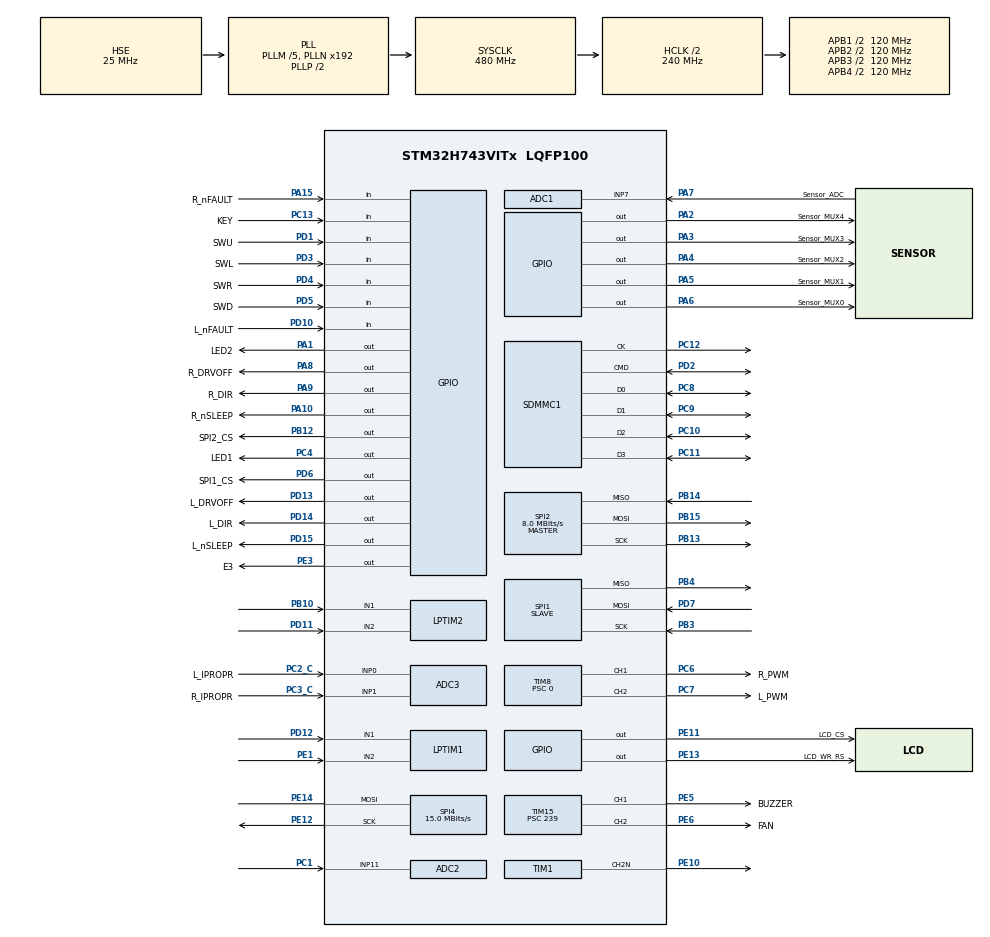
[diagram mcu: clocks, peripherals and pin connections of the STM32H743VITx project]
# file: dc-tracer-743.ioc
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ADC1.Channel-2\#ChannelRegularConversion=ADC_CHANNEL_7
ADC1.ClockPrescaler=ADC_CLOCK_ASYNC_DIV2
ADC1.ClockPrescalerADC3=ADC_CLOCK_ASYNC_DIV4
ADC1.NbrOfConversionFlag=1
ADC1.Offset-2\#ChannelRegularConversion=3000
ADC1.OffsetNumber-2\#ChannelRegularConversion=ADC_OFFSET_1
ADC1.OffsetSignedSaturation-2\#ChannelRegularConversion=DISABLE
ADC1.Rank-2\#ChannelRegularConversion=1
ADC1.Resolution=ADC_RESOLUTION_16B
ADC1.SamplingTime-2\#ChannelRegularConversion=ADC_SAMPLETIME_32CYCLES_5
ADC1.master=1
ADC2.Channel-6\#ChannelRegularConversion=ADC_CHANNEL_11
ADC2.ClockPrescaler=ADC_CLOCK_ASYNC_DIV2
ADC2.NbrOfConversionFlag=1
ADC2.OffsetNumber-6\#ChannelRegularConversion=ADC_OFFSET_NONE
ADC2.OffsetSignedSaturation-6\#ChannelRegularConversion=DISABLE
ADC2.Rank-6\#ChannelRegularConversion=1
ADC2.SamplingTime-6\#ChannelRegularConversion=ADC_SAMPLETIME_16CYCLES_5
ADC3.Channel-0\#ChannelRegularConversion=ADC_CHANNEL_0
ADC3.ClockPrescaler=ADC_CLOCK_ASYNC_DIV2
ADC3.ClockPrescalerADC3=ADC_CLOCK_ASYNC_DIV4
ADC3.DiscontinuousConvMode=DISABLE
ADC3.NbrOfConversion=1
ADC3.NbrOfConversionFlag=1
ADC3.OffsetNumber-0\#ChannelRegularConversion=ADC_OFFSET_NONE
ADC3.OffsetSignedSaturation-0\#ChannelRegularConversion=DISABLE
ADC3.Rank-0\#ChannelRegularConversion=1
ADC3.SamplingTime-0\#ChannelRegularConversion=ADC_SAMPLETIME_16CYCLES_5
LPTIM3.ClockPrescaler=LPTIM_PRESCALER_DIV1
LPTIM4.ClockPrescaler=LPTIM_PRESCALER_DIV16
LPTIM5.ClockPrescaler=LPTIM_PRESCALER_DIV16
Mcu.Family=STM32H7
Mcu.Name=STM32H743VITx
Mcu.Package=LQFP100
NVIC.LPTIM3_IRQn=true\:0\:0\:false\:false\:true\:true\:true\:true
NVIC.LPTIM4_IRQn=true\:0\:0\:false\:false\:true\:true\:true\:true
NVIC.LPTIM5_IRQn=true\:0\:0\:false\:false\:true\:true\:true\:true
NVIC.PriorityGroup=NVIC_PRIORITYGROUP_4
NVIC.TIM6_DAC_IRQn=true\:0\:0\:false\:false\:true\:true\:true\:true
PA1.GPIO_Label=LED2
PA1.Signal=GPIO_Output
PA10.GPIO_Label=R_nSLEEP
PA10.Signal=GPIO_Output
PA13\ (JTMS/SWDIO).Mode=Serial_Wire
PA13\ (JTMS/SWDIO).Signal=DEBUG_JTMS-SWDIO
PA14\ (JTCK/SWCLK).Mode=Serial_Wire
PA14\ (JTCK/SWCLK).Signal=DEBUG_JTCK-SWCLK
PA15\ (JTDI).GPIO_Label=R_nFAULT
PA15\ (JTDI).Signal=GPIO_Input
PA2.GPIO_Label=Sensor_MUX4
PA2.Signal=GPIO_Output
PA3.GPIO_Label=Sensor_MUX3
PA3.Signal=GPIO_Output
PA4.GPIO_Label=Sensor_MUX2
PA4.Signal=GPIO_Output
PA5.GPIO_Label=Sensor_MUX1
PA5.Signal=GPIO_Output
PA6.GPIO_Label=Sensor_MUX0
PA6.Signal=GPIO_Output
PA7.GPIO_Label=Sensor_ADC
PA7.Signal=ADCx_INP7
PA8.GPIO_Label=R_DRVOFF
PA8.Signal=GPIO_Output
PA9.GPIO_Label=R_DIR
PA9.Signal=GPIO_Output
PB10.Mode=Encoder_mode_occur1
PB10.Signal=LPTIM2_IN1
PB12.GPIO_Label=SPI2_CS
PB12.Signal=GPIO_Output
PB13.Mode=Full_Duplex_Master
PB13.Signal=SPI2_SCK
PB14.Mode=Full_Duplex_Master
PB14.Signal=SPI2_MISO
PB15.Mode=Full_Duplex_Master
PB15.Signal=SPI2_MOSI
PB3\ (JTDO/TRACESWO).Mode=Full_Duplex_Slave
PB3\ (JTDO/TRACESWO).Signal=SPI1_SCK
PB4\ (NJTRST).Mode=Full_Duplex_Slave
PB4\ (NJTRST).Signal=SPI1_MISO
PC1.Signal=ADCx_INP11
PC10.Mode=SD_4_bits_Wide_bus
PC10.Signal=SDMMC1_D2
PC11.Mode=SD_4_bits_Wide_bus
PC11.Signal=SDMMC1_D3
PC12.Mode=SD_4_bits_Wide_bus
PC12.Signal=SDMMC1_CK
PC13.GPIO_Label=KEY
PC13.GPIO_PuPd=GPIO_PULLDOWN
PC13.Signal=GPIO_Input
PC14-OSC32_IN\ (OSC32_IN).Mode=LSE-External-Oscillator
PC14-OSC32_IN\ (OSC32_IN).Signal=RCC_OSC32_IN
PC15-OSC32_OUT\ (OSC32_OUT).Mode=LSE-External-Oscillator
PC15-OSC32_OUT\ (OSC32_OUT).Signal=RCC_OSC32_OUT
PC2_C.GPIO_Label=L_IPROPR
PC2_C.Mode=IN0-Single-Ended
PC2_C.Signal=ADC3_INP0
PC3_C.GPIO_Label=R_IPROPR
PC3_C.Mode=IN1-Single-Ended
PC3_C.Signal=ADC3_INP1
PC4.GPIO_Label=LED1
PC4.Signal=GPIO_Output
PC6.GPIO_Label=R_PWM
PC6.Signal=S_TIM8_CH1
PC7.GPIO_Label=L_PWM
PC7.Signal=S_TIM8_CH2
PC8.Mode=SD_4_bits_Wide_bus
PC8.Signal=SDMMC1_D0
PC9.Mode=SD_4_bits_Wide_bus
PC9.Signal=SDMMC1_D1
PD1.GPIO_Label=SWU
PD1.GPIO_PuPd=GPIO_PULLUP
PD1.Signal=GPIO_Input
PD10.GPIO_Label=L_nFAULT
PD10.Signal=GPIO_Input
PD11.Mode=Encoder_mode_occur1
PD11.Signal=LPTIM2_IN2
PD12.Mode=Encoder_mode_occur1
PD12.Signal=LPTIM1_IN1
PD13.GPIO_Label=L_DRVOFF
PD13.Signal=GPIO_Output
PD14.GPIO_Label=L_DIR
PD14.Signal=GPIO_Output
PD15.GPIO_Label=L_nSLEEP
PD15.Signal=GPIO_Output
PD2.Mode=SD_4_bits_Wide_bus
PD2.Signal=SDMMC1_CMD
PD3.GPIO_Label=SWL
PD3.GPIO_PuPd=GPIO_PULLUP
PD3.Signal=GPIO_Input
PD4.GPIO_Label=SWR
PD4.GPIO_PuPd=GPIO_PULLUP
PD4.Signal=GPIO_Input
PD5.GPIO_Label=SWD
PD5.GPIO_PuPd=GPIO_PULLUP
PD5.Signal=GPIO_Input
PD6.GPIO_Label=SPI1_CS
PD6.Signal=GPIO_Output
PD7.Mode=Full_Duplex_Slave
PD7.Signal=SPI1_MOSI
PE1.Mode=Encoder_mode_occur1
PE1.Signal=LPTIM1_IN2
PE10.Mode=PWM Generation2 CH2N
PE10.Signal=TIM1_CH2N
PE11.GPIO_Label=LCD_CS
PE11.GPIO_Speed=GPIO_SPEED_FREQ_VERY_HIGH
PE11.PinState=GPIO_PIN_SET
PE11.Signal=GPIO_Output
PE12.GPIO_Speed=GPIO_SPEED_FREQ_HIGH
PE12.Mode=Simplex_Bidirectional_Master
PE12.Signal=SPI4_SCK
PE13.GPIO_Label=LCD_WR_RS
PE13.GPIO_Speed=GPIO_SPEED_FREQ_VERY_HIGH
PE13.PinState=GPIO_PIN_SET
PE13.Signal=GPIO_Output
PE14.GPIO_Speed=GPIO_SPEED_FREQ_HIGH
PE14.Mode=Simplex_Bidirectional_Master
PE14.Signal=SPI4_MOSI
PE3.GPIO_Label=E3
PE3.Signal=GPIO_Output
PE5.GPIO_Label=BUZZER
PE5.GPIO_PuPd=GPIO_PULLDOWN
PE5.Signal=S_TIM15_CH1
PE6.GPIO_Label=FAN
PE6.Signal=S_TIM15_CH2
PH0-OSC_IN\ (PH0).Mode=HSE-External-Oscillator
PH0-OSC_IN\ (PH0).Signal=RCC_OSC_IN
PH1-OSC_OUT\ (PH1).Mode=HSE-External-Oscillator
PH1-OSC_OUT\ (PH1).Signal=RCC_OSC_OUT
ProjectManager.HeapSize=0x200
ProjectManager.StackSize=0x400
ProjectManager.TargetToolchain=STM32CubeIDE
RCC.ADCFreq_Value=62000000
RCC.APB1Freq_Value=120000000
RCC.APB2Freq_Value=120000000
RCC.APB3Freq_Value=120000000
RCC.APB4Freq_Value=120000000
RCC.CortexFreq_Value=480000000
RCC.D1PPRE=RCC_APB3_DIV2
RCC.D2PPRE1=RCC_APB1_DIV2
RCC.D2PPRE2=RCC_APB2_DIV2
RCC.D3PPRE=RCC_APB4_DIV2
RCC.DIVM1=5
RCC.DIVM2=25
RCC.DIVN1=192
RCC.DIVN2=248
RCC.DIVP2=4
RCC.DIVQ2=1
RCC.HCLKFreq_Value=240000000
RCC.HPRE=RCC_HCLK_DIV2
RCC.HSE_VALUE=25000000
RCC.LPTIM345CLockSelection=RCC_LPTIM345CLKSOURCE_LSI
RCC.PLL2FRACN=0
RCC.PLLFRACN=0
RCC.PLLSourceVirtual=RCC_PLLSOURCE_HSE
RCC.PWR_Regulator_Voltage_Scale=PWR_REGULATOR_VOLTAGE_SCALE0
RCC.RTCClockSelection=RCC_RTCCLKSOURCE_LSE
RCC.SDMMC1CLockSelection=RCC_SDMMCCLKSOURCE_PLL2
RCC.SPI123CLockSelection=RCC_SPI123CLKSOURCE_CLKP
RCC.SYSCLKFreq_VALUE=480000000
RCC.SYSCLKSource=RCC_SYSCLKSOURCE_PLLCLK
RCC.USBFreq_Value=480000000
RTC.Hours=12
RTC.Month=RTC_MONTH_JUNE
RTC.Year=20
SH.ADCx_INP11.0=ADC2_INP11,IN11-Single-Ended
SH.ADCx_INP7.0=ADC1_INP7,IN7-Single-Ended
SH.S_TIM15_CH1.0=TIM15_CH1,PWM Generation1 CH1
SH.S_TIM15_CH2.0=TIM15_CH2,PWM Generation2 CH2
SH.S_TIM8_CH1.0=TIM8_CH1,PWM Generation1 CH1
SH.S_TIM8_CH2.0=TIM8_CH2,PWM Generation2 CH2
SPI1.DataSize=SPI_DATASIZE_8BIT
SPI1.Direction=SPI_DIRECTION_2LINES
SPI1.Mode=SPI_MODE_SLAVE
SPI1.VirtualType=VM_SLAVE
SPI2.BaudRatePrescaler=SPI_BAUDRATEPRESCALER_8
SPI2.CalculateBaudRate=8.0 MBits/s
SPI2.DataSize=SPI_DATASIZE_8BIT
SPI2.Direction=SPI_DIRECTION_2LINES
SPI2.Mode=SPI_MODE_MASTER
SPI2.VirtualType=VM_MASTER
SPI4.BaudRatePrescaler=SPI_BAUDRATEPRESCALER_8
SPI4.CalculateBaudRate=15.0 MBits/s
SPI4.DataSize=SPI_DATASIZE_8BIT
SPI4.Direction=SPI_DIRECTION_1LINE
SPI4.Mode=SPI_MODE_MASTER
SPI4.VirtualType=VM_MASTER
TIM1.AutoReloadPreload=TIM_AUTORELOAD_PRELOAD_ENABLE
TIM1.AutomaticOutput=TIM_AUTOMATICOUTPUT_ENABLE
TIM1.Channel-PWM\ Generation2\ CH2N=TIM_CHANNEL_2
TIM1.OCMode_PWM-PWM\ Generation2\ CH2N=TIM_OCMODE_PWM2
TIM1.Period=999
TIM1.Prescaler=11
TIM15.Channel-PWM\ Generation1\ CH1=TIM_CHANNEL_1
TIM15.Channel-PWM\ Generation2\ CH2=TIM_CHANNEL_2
TIM15.Period=319
TIM15.Prescaler=239
TIM16.Prescaler=599
TIM17.Period=999
TIM17.Prescaler=11
TIM8.AutoReloadPreload=TIM_AUTORELOAD_PRELOAD_ENABLE
TIM8.Channel-PWM\ Generation1\ CH1=TIM_CHANNEL_1
TIM8.Channel-PWM\ Generation2\ CH2=TIM_CHANNEL_2
TIM8.CounterMode=TIM_COUNTERMODE_UP
TIM8.Period=9599
TIM8.Prescaler=0
VP_LPTIM3_VS_LPTIM_counterModeInternalClock.Mode=Counts__internal_clock_event_00
VP_LPTIM4_VS_LPTIM_counterModeInternalClock.Mode=Counts__internal_clock_event_00
VP_LPTIM5_VS_LPTIM_counterModeInternalClock.Mode=Counts__internal_clock_event_00
VP_MEMORYMAP_VS_MEMORYMAP.Mode=CurAppReg
VP_RTC_VS_RTC_Activate.Mode=RTC_Enabled
VP_RTC_VS_RTC_Calendar.Mode=RTC_Calendar
VP_TIM15_VS_ClockSourceINT.Mode=Internal
VP_TIM16_VS_ClockSourceINT.Mode=Enable_Timer
VP_TIM17_VS_ClockSourceINT.Mode=Enable_Timer
VP_TIM1_VS_ClockSourceINT.Mode=Internal
VP_TIM6_VS_ClockSourceINT.Mode=Enable_Timer
VP_TIM7_VS_ClockSourceINT.Mode=Enable_Timer
board=custom

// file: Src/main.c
/* USER CODE BEGIN Header */
/**
 ******************************************************************************
 * @file           : main.c
 * @brief          : Main program body
 ******************************************************************************
 * @attention
 *
 * <h2><center>&copy; Copyright (c) 2020 STMicroelectronics.
 * All rights reserved.</center></h2>
 *
 * This software component is licensed by ST under BSD 3-Clause license,
 * the "License"; You may not use this file except in compliance with the
 * License. You may obtain a copy of the License at:
 *                        opensource.org/licenses/BSD-3-Clause
 *
 ******************************************************************************
 */
/* USER CODE END Header */
#include "main.h"
#include "adc.h"
#include "lptim.h"
#include "rtc.h"
#include "sdmmc.h"
#include "spi.h"
#include "tim.h"
#include "gpio.h"
#include "LSM6DS3TR.h"

void SystemClock_Config(void);
void PeriphCommonClock_Config(void);

/* USER CODE BEGIN 0 */
static void MPU_Config(void) {
	MPU_Region_InitTypeDef MPU_InitStruct = { 0 };

	/* Disables the MPU */
	HAL_MPU_Disable();

	/* Configure the MPU attributes for the QSPI 256MB without instruction access */
	MPU_InitStruct.Enable = MPU_REGION_ENABLE;
	MPU_InitStruct.Number = MPU_REGION_NUMBER0;
	MPU_InitStruct.BaseAddress = QSPI_BASE;
	MPU_InitStruct.Size = MPU_REGION_SIZE_256MB;
	MPU_InitStruct.AccessPermission = MPU_REGION_NO_ACCESS;
	MPU_InitStruct.IsBufferable = MPU_ACCESS_NOT_BUFFERABLE;
	MPU_InitStruct.IsCacheable = MPU_ACCESS_NOT_CACHEABLE;
	MPU_InitStruct.IsShareable = MPU_ACCESS_NOT_SHAREABLE;
	MPU_InitStruct.DisableExec = MPU_INSTRUCTION_ACCESS_DISABLE;
	MPU_InitStruct.TypeExtField = MPU_TEX_LEVEL1;
	MPU_InitStruct.SubRegionDisable = 0x00;
	HAL_MPU_ConfigRegion(&MPU_InitStruct);

	/* Configure the MPU attributes for the QSPI 8MB (QSPI Flash Size) to Cacheable WT */
	MPU_InitStruct.Enable = MPU_REGION_ENABLE;
	MPU_InitStruct.Number = MPU_REGION_NUMBER1;
	MPU_InitStruct.BaseAddress = QSPI_BASE;
	MPU_InitStruct.Size = MPU_REGION_SIZE_8MB;
	MPU_InitStruct.AccessPermission = MPU_REGION_PRIV_RO;
	MPU_InitStruct.IsBufferable = MPU_ACCESS_BUFFERABLE;
	MPU_InitStruct.IsCacheable = MPU_ACCESS_CACHEABLE;
	MPU_InitStruct.IsShareable = MPU_ACCESS_NOT_SHAREABLE;
	MPU_InitStruct.DisableExec = MPU_INSTRUCTION_ACCESS_ENABLE;
	MPU_InitStruct.TypeExtField = MPU_TEX_LEVEL1;
	MPU_InitStruct.SubRegionDisable = 0x00;
	HAL_MPU_ConfigRegion(&MPU_InitStruct);

	/* Enables the MPU */
	HAL_MPU_Enable(MPU_PRIVILEGED_DEFAULT);
}

static void CPU_CACHE_Enable(void) {
	/* Enable I-Cache */
	SCB_EnableICache();

	/* Enable D-Cache */
	SCB_EnableDCache();
}

static void LED_Blink(uint32_t Hdelay, uint32_t Ldelay) {
	HAL_GPIO_WritePin(E3_GPIO_Port, E3_Pin, GPIO_PIN_SET);
	HAL_Delay(Hdelay - 1);
	HAL_GPIO_WritePin(E3_GPIO_Port, E3_Pin, GPIO_PIN_RESET);
	HAL_Delay(Ldelay - 1);
}

/**
 * @brief  Get the current time and date.
 * @param
 * @retval None
 */
static void RTC_CalendarShow(RTC_DateTypeDef *sdatestructureget,
		RTC_TimeTypeDef *stimestructureget) {
	/* ����ͬʱ��ȡʱ�������?????? ��Ȼ�ᵼ���´�RTC���ܶ�ȡ */
	/* Both time and date must be obtained or RTC cannot be read next time */
	/* Get the RTC current Time */
	HAL_RTC_GetTime(&hrtc, stimestructureget, RTC_FORMAT_BIN);
	/* Get the RTC current Date */
	HAL_RTC_GetDate(&hrtc, sdatestructureget, RTC_FORMAT_BIN);
}

/* USER CODE END 0 */

int main(void)
{

  /* USER CODE BEGIN 1 */

#ifdef W25Qxx
    SCB->VTOR = QSPI_BASE;
  #endif
	MPU_Config();
	CPU_CACHE_Enable();

  /* USER CODE END 1 */

  /* MCU Configuration--------------------------------------------------------*/

  /* Reset of all peripherals, Initializes the Flash interface and the Systick. */
  HAL_Init();

  /* Configure the system clock */
  SystemClock_Config();

  /* Configure the peripherals common clocks */
  PeriphCommonClock_Config();

  /* Initialize all configured peripherals */
  MX_GPIO_Init();
  MX_RTC_Init();
  MX_SPI4_Init();
  MX_TIM1_Init();
  MX_ADC1_Init();
  MX_LPTIM1_Init();
  MX_LPTIM2_Init();
  MX_SPI1_Init();
  MX_SPI2_Init();
  MX_TIM6_Init();
  MX_TIM8_Init();
  MX_TIM16_Init();
  MX_TIM17_Init();
  MX_LPTIM3_Init();
  MX_LPTIM4_Init();
  MX_TIM7_Init();
  MX_LPTIM5_Init();
  MX_ADC3_Init();
  MX_SDMMC1_SD_Init();
  MX_TIM15_Init();
  MX_ADC2_Init();
  /* USER CODE BEGIN 2 */
	DWT_Delay_Init();
	Custom_LCD_Clear();
//  	HAL_TIMEx_PWMN_Start(&htim1, TIM_CHANNEL_2);
//  	__HAL_TIM_SetCompare(&htim1,TIM_CHANNEL_2,100);

  	HAL_TIM_PWM_Start(&htim15, TIM_CHANNEL_1);
  	__HAL_TIM_SET_COMPARE(&htim15, TIM_CHANNEL_1, 5);
  	HAL_GPIO_WritePin(LED1_GPIO_Port, LED1_Pin, GPIO_PIN_SET);
  	HAL_GPIO_WritePin(LED2_GPIO_Port, LED2_Pin, GPIO_PIN_SET);

	LCD_Test();

  	HAL_TIM_PWM_Stop(&htim15, TIM_CHANNEL_1);
  	__HAL_TIM_SET_COMPARE(&htim15, TIM_CHANNEL_1, 0);

//	HAL_TIMEx_PWMN_Start(&htim1,TIM_CHANNEL_2);
//	__HAL_TIM_SetCompare(&htim1,TIM_CHANNEL_2,10);
  /* USER CODE END 2 */

  /* Infinite loop */
  /* USER CODE BEGIN WHILE */
//	uint8_t text[20];
//	RTC_DateTypeDef sdatestructureget;
//	RTC_TimeTypeDef stimestructureget;
//	HAL_LPTIM_Encoder_Start(&hlptim1, 65535);			//?��코더 ?��?��

  	//SM6DS3TR_C_Init();

	while (1) {
    /* USER CODE END WHILE */

    /* USER CODE BEGIN 3 */
//		RTC_CalendarShow(&sdatestructureget,&stimestructureget);
//
//		if (stimestructureget.Seconds % 2 == 1)
//			sprintf((char *)&text,"Time: %02d:%02d", stimestructureget.Hours, stimestructureget.Minutes);
//		else
//			sprintf((char *)&text,"Time: %02d %02d", stimestructureget.Hours, stimestructureget.Minutes);
//		LCD_ShowString(4, 58, 160, 16, 16, text);
//
//		sprintf((char *)&text,"Tick: %d ms",HAL_GetTick());
//		LCD_ShowString(4, 74, 160, 16, 16,text);
//
//		LED_Blink(3,500);
		Init();
//	  Custom_LCD_Printf(0, 0, "%5d", LPTIM1->CNT);
	}
  /* USER CODE END 3 */
}

void SystemClock_Config(void)
{
  RCC_OscInitTypeDef RCC_OscInitStruct = {0};
  RCC_ClkInitTypeDef RCC_ClkInitStruct = {0};

  /** Supply configuration update enable
  */
  HAL_PWREx_ConfigSupply(PWR_LDO_SUPPLY);

  /** Configure the main internal regulator output voltage
  */
  __HAL_PWR_VOLTAGESCALING_CONFIG(PWR_REGULATOR_VOLTAGE_SCALE0);

  while(!__HAL_PWR_GET_FLAG(PWR_FLAG_VOSRDY)) {}

  /** Configure LSE Drive Capability
  */
  HAL_PWR_EnableBkUpAccess();
  __HAL_RCC_LSEDRIVE_CONFIG(RCC_LSEDRIVE_LOW);

  /** Initializes the RCC Oscillators according to the specified parameters
  * in the RCC_OscInitTypeDef structure.
  */
  RCC_OscInitStruct.OscillatorType = RCC_OSCILLATORTYPE_HSI|RCC_OSCILLATORTYPE_LSI
                              |RCC_OSCILLATORTYPE_HSE|RCC_OSCILLATORTYPE_LSE;
  RCC_OscInitStruct.HSEState = RCC_HSE_ON;
  RCC_OscInitStruct.LSEState = RCC_LSE_ON;
  RCC_OscInitStruct.HSIState = RCC_HSI_DIV1;
  RCC_OscInitStruct.HSICalibrationValue = RCC_HSICALIBRATION_DEFAULT;
  RCC_OscInitStruct.LSIState = RCC_LSI_ON;
  RCC_OscInitStruct.PLL.PLLState = RCC_PLL_ON;
  RCC_OscInitStruct.PLL.PLLSource = RCC_PLLSOURCE_HSE;
  RCC_OscInitStruct.PLL.PLLM = 5;
  RCC_OscInitStruct.PLL.PLLN = 192;
  RCC_OscInitStruct.PLL.PLLP = 2;
  RCC_OscInitStruct.PLL.PLLQ = 2;
  RCC_OscInitStruct.PLL.PLLR = 2;
  RCC_OscInitStruct.PLL.PLLRGE = RCC_PLL1VCIRANGE_2;
  RCC_OscInitStruct.PLL.PLLVCOSEL = RCC_PLL1VCOWIDE;
  RCC_OscInitStruct.PLL.PLLFRACN = 0;
  if (HAL_RCC_OscConfig(&RCC_OscInitStruct) != HAL_OK)
  {
    Error_Handler();
  }

  /** Initializes the CPU, AHB and APB buses clocks
  */
  RCC_ClkInitStruct.ClockType = RCC_CLOCKTYPE_HCLK|RCC_CLOCKTYPE_SYSCLK
                              |RCC_CLOCKTYPE_PCLK1|RCC_CLOCKTYPE_PCLK2
                              |RCC_CLOCKTYPE_D3PCLK1|RCC_CLOCKTYPE_D1PCLK1;
  RCC_ClkInitStruct.SYSCLKSource = RCC_SYSCLKSOURCE_PLLCLK;
  RCC_ClkInitStruct.SYSCLKDivider = RCC_SYSCLK_DIV1;
  RCC_ClkInitStruct.AHBCLKDivider = RCC_HCLK_DIV2;
  RCC_ClkInitStruct.APB3CLKDivider = RCC_APB3_DIV2;
  RCC_ClkInitStruct.APB1CLKDivider = RCC_APB1_DIV2;
  RCC_ClkInitStruct.APB2CLKDivider = RCC_APB2_DIV2;
  RCC_ClkInitStruct.APB4CLKDivider = RCC_APB4_DIV2;

  if (HAL_RCC_ClockConfig(&RCC_ClkInitStruct, FLASH_LATENCY_4) != HAL_OK)
  {
    Error_Handler();
  }
}

void PeriphCommonClock_Config(void)
{
  RCC_PeriphCLKInitTypeDef PeriphClkInitStruct = {0};

  /** Initializes the peripherals clock
  */
  PeriphClkInitStruct.PeriphClockSelection = RCC_PERIPHCLK_ADC|RCC_PERIPHCLK_SDMMC
                              |RCC_PERIPHCLK_CKPER;
  PeriphClkInitStruct.PLL2.PLL2M = 25;
  PeriphClkInitStruct.PLL2.PLL2N = 248;
  PeriphClkInitStruct.PLL2.PLL2P = 4;
  PeriphClkInitStruct.PLL2.PLL2Q = 1;
  PeriphClkInitStruct.PLL2.PLL2R = 2;
  PeriphClkInitStruct.PLL2.PLL2RGE = RCC_PLL2VCIRANGE_0;
  PeriphClkInitStruct.PLL2.PLL2VCOSEL = RCC_PLL2VCOWIDE;
  PeriphClkInitStruct.PLL2.PLL2FRACN = 0;
  PeriphClkInitStruct.SdmmcClockSelection = RCC_SDMMCCLKSOURCE_PLL2;
  PeriphClkInitStruct.CkperClockSelection = RCC_CLKPSOURCE_HSI;
  PeriphClkInitStruct.AdcClockSelection = RCC_ADCCLKSOURCE_PLL2;
  if (HAL_RCCEx_PeriphCLKConfig(&PeriphClkInitStruct) != HAL_OK)
  {
    Error_Handler();
  }
}

void Error_Handler(void)
{
  /* USER CODE BEGIN Error_Handler_Debug */
	/* User can add his own implementation to report the HAL error return state */
	LED_Blink(500, 500);
  /* USER CODE END Error_Handler_Debug */
}
